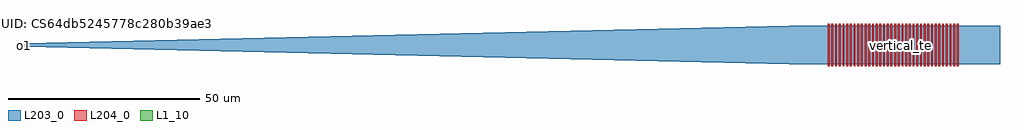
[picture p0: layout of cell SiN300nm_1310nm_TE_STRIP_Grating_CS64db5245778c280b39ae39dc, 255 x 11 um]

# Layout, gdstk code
import gdstk
lib = gdstk.Library(unit=1e-6, precision=1e-09)
def R(c, l, rs):  # rectangles x0, y0, x1, y1
    for r in rs: c.add(gdstk.rectangle(r[:2], r[2:], *l))
def A(c, l, x, y, w, h, nx, ny, dx, dy):  # array of equal rectangles
    R(c, l, [(x+i*dx, y+j*dy, x+i*dx+w, y+j*dy+h) for i in range(nx) for j in range(ny)])
def P(c, l, *ps):  # polygons
    for p in ps: c.add(gdstk.Polygon(p, *l))
L1_10 = (1, 10)
L203_0 = (203, 0)
L204_0 = (204, 0)

sin300nm_1310nm_te_strip = lib.new_cell('SiN300nm_1310nm_TE_STRIP_Grating_CS64db5245778c280b39ae39dc')
R(sin300nm_1310nm_te_strip, L1_10, [(0,-0.475,0.1,0.475)])
R(sin300nm_1310nm_te_strip, L203_0, [(200,-5,255,5)])
P(sin300nm_1310nm_te_strip, L203_0, [(200,5),(200,-5),(0,-0.475),(0,0.475)])
A(sin300nm_1310nm_te_strip, L204_0, 210, -5.5, 0.482, 11, 36, 1, 0.964, 0)
sin300nm_1310nm_te_strip.add(gdstk.Label('UID: CS64db5245778c280b39ae39dc', (0,5.5), layer=66, texttype=0))
sin300nm_1310nm_te_strip.add(gdstk.Label('o1', (0,0), layer=66, texttype=0))
sin300nm_1310nm_te_strip.add(gdstk.Label('vertical_te', (229,0), layer=66, texttype=0))

lib.write_gds('SiN300nm_1310nm_TE_STRIP_Grating_CS64db5245778c280b39ae39dc.gds')
